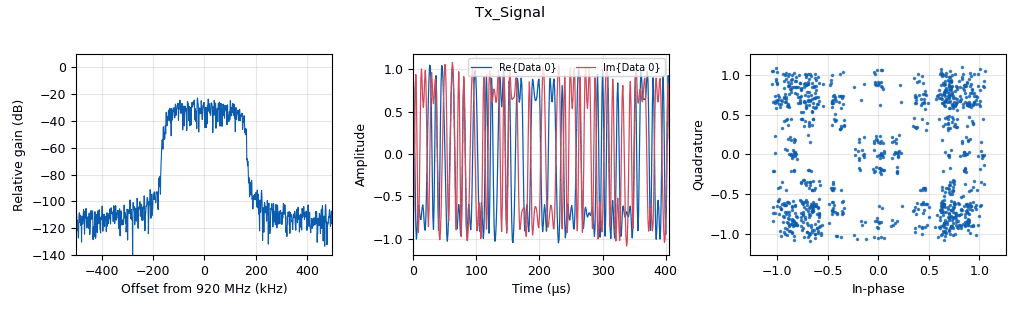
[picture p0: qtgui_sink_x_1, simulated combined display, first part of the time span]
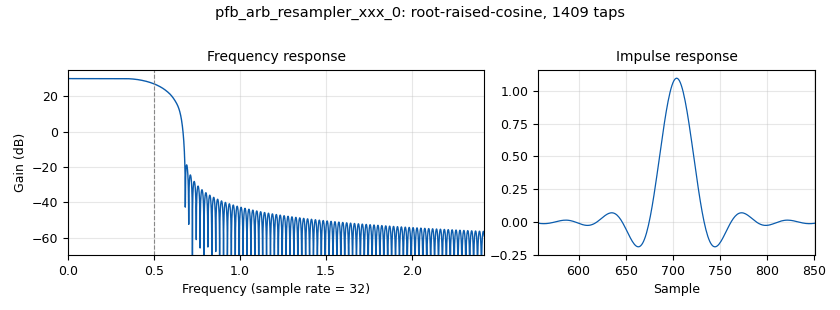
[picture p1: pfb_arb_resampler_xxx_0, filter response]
options:
  parameters:
    author: Dramco_Tianzheng
    generate_options: qt_gui
    id: QPSK_RPI_Tx
    output_language: python
    title: QPSK_RPI_Tx
  states: {}

blocks:
- name: d
  id: variable
  parameters:
    value: 1/(2**(1/2))
  states: {}
- name: eq_gain
  id: variable_qtgui_range
  parameters:
    gui_hint: 'controls@1: 1,0,1,1'
    label: 'Equalizer: rate'
    start: '0.0'
    step: '0.0001'
    stop: '0.001'
    value: '0.0001'
  states: {}
- name: excess_bw
  id: variable
  parameters:
    value: '0.35'
  states: {}
- name: filt_delay
  id: variable
  parameters:
    value: int(1+(taps_per_filt-1)//2)
  states: {}
- name: freq
  id: variable
  parameters:
    value: 920e6
  states: {}
- name: freq_offset
  id: variable_qtgui_range
  parameters:
    gui_hint: 'controls@0: 1,1,1,1'
    label: Frequency Offset
    start: '-0.1'
    step: '0.001'
    stop: '0.1'
    value: '0'
  states: {}
- name: gain_rx
  id: variable_qtgui_range
  parameters:
    gui_hint: 'controls@1: 0,0,1,1'
    label: gain_rx
    start: '0'
    step: '1'
    stop: '74'
    value: '50'
  states: {}
- name: gain_tx
  id: variable_qtgui_range
  parameters:
    gui_hint: 'controls@0: 0,0,1,1'
    label: gain_tx
    start: '0'
    step: '1'
    stop: '74'
    value: '50'
  states: {}
- name: nfilts
  id: variable
  parameters:
    value: '32'
  states: {}
- name: noise_volt
  id: variable_qtgui_range
  parameters:
    gui_hint: 'controls@0: 1,0,1,1'
    label: Noise Voltage
    start: '0'
    step: '0.01'
    stop: '2'
    value: '0'
  states: {}
- name: qpsk_mg
  id: variable_constellation_rect
  parameters:
    const_points: '[d+d*1j, -d+d*1j,-d-d*1j, d-d*1j]'
    imag_sect: '2'
    real_sect: '2'
    rot_sym: '4'
    sym_map: '[0, 1, 3, 2]'
    w_imag_sect: '1'
    w_real_sect: '1'
  states: {}
- name: rrc_taps_tx
  id: variable
  parameters:
    value: firdes.root_raised_cosine(nfilts, nfilts, 1.0, excess_bw, 11*sps*nfilts)
  states: {}
- name: samp_rate
  id: variable
  parameters:
    value: '1000000'
  states: {}
- name: sps
  id: variable
  parameters:
    value: '4'
  states: {}
- name: taps
  id: variable
  parameters:
    value: '[0.825,0,0,0,0.526]'
  states: {}
- name: taps_1
  id: variable
  parameters:
    value: '[1,0,0,0.5]'
  states: {}
- name: taps_per_filt
  id: variable
  parameters:
    value: int((11*sps*nfilts)/nfilts)
  states: {}
- name: variable_adaptive_algorithm_0
  id: variable_adaptive_algorithm
  parameters:
    cons: qpsk_mg
    modulus: '1'
    step_size: eq_gain
    type: cma
  states: {}
- name: analog_random_source_x_0
  id: analog_random_source_x
  parameters:
    max: '256'
    min: '0'
    num_samps: '10000000'
    repeat: 'True'
    type: byte
  states: {}
- name: blocks_packed_to_unpacked_xx_0
  id: blocks_packed_to_unpacked_xx
  parameters:
    bits_per_chunk: '2'
    endianness: gr.GR_MSB_FIRST
    type: byte
  states: {}
- name: blocks_stream_to_tagged_stream_0
  id: blocks_stream_to_tagged_stream
  parameters:
    len_tag_key: '"packet_len"'
    packet_len: '1024'
    type: byte
  states: {}
- name: blocks_throttle_0
  id: blocks_throttle
  parameters:
    samples_per_second: samp_rate
    type: complex
  states: {}
- name: channels_channel_model_0
  id: channels_channel_model
  parameters:
    epsilon: '1'
    freq_offset: freq_offset
    noise_voltage: noise_volt
    seed: '0'
    taps: '1'
  states: {}
- name: controls
  id: qtgui_tab_widget
  parameters:
    gui_hint: 0,0,1,2
    label0: TX
    label1: RX
    num_tabs: '2'
  states: {}
- name: digital_chunks_to_symbols_xx_0
  id: digital_chunks_to_symbols_xx
  parameters:
    dimension: '1'
    in_type: byte
    out_type: complex
    symbol_table: qpsk_mg.points()
  states: {}
- name: digital_diff_encoder_bb_0
  id: digital_diff_encoder_bb
  parameters:
    coding: digital.DIFF_DIFFERENTIAL
    modulus: '4'
  states: {}
- name: pdu_tagged_stream_to_pdu_0
  id: pdu_tagged_stream_to_pdu
  parameters:
    tag: packet_len
    type: byte
  states: {}
- name: pfb_arb_resampler_xxx_0
  id: pfb_arb_resampler_xxx
  parameters:
    atten: '100'
    nfilts: nfilts
    rrate: sps
    taps: rrc_taps_tx
    type: ccf
  states: {}
- name: qtgui_sink_x_1
  id: qtgui_sink_x
  parameters:
    bw: samp_rate
    fc: freq
    fftsize: '1024'
    gui_hint: 1,0,1,1
    name: '"Tx_Signal"'
    showports: 'True'
    type: complex
  states: {}
- name: uhd_usrp_sink_0
  id: uhd_usrp_sink
  parameters:
    ant0: '"TX/RX"'
    center_freq0: freq
    clock_rate: '0.0'
    dev_addr: '"serial=31DB555"'
    dev_args: '""'
    gain0: gain_tx
    len_tag_name: ''
    samp_rate: samp_rate
    sync: sync
    type: fc32
  states: {}
- name: virtual_sink_0
  id: virtual_sink
  parameters:
    stream_id: Tx_samples
  states: {}
- name: zeromq_push_msg_sink_1
  id: zeromq_push_msg_sink
  parameters:
    address: tcp://<192.108.2.61>:5555
    timeout: '100'
  states: {}

connections:
- [analog_random_source_x_0, '0', blocks_packed_to_unpacked_xx_0, '0']
- [blocks_packed_to_unpacked_xx_0, '0', blocks_stream_to_tagged_stream_0, '0']
- [blocks_packed_to_unpacked_xx_0, '0', digital_diff_encoder_bb_0, '0']
- [blocks_stream_to_tagged_stream_0, '0', pdu_tagged_stream_to_pdu_0, '0']
- [blocks_throttle_0, '0', channels_channel_model_0, '0']
- [channels_channel_model_0, '0', uhd_usrp_sink_0, '0']
- [channels_channel_model_0, '0', virtual_sink_0, '0']
- [digital_chunks_to_symbols_xx_0, '0', pfb_arb_resampler_xxx_0, '0']
- [digital_diff_encoder_bb_0, '0', digital_chunks_to_symbols_xx_0, '0']
- [pdu_tagged_stream_to_pdu_0, pdus, zeromq_push_msg_sink_1, in]
- [pfb_arb_resampler_xxx_0, '0', blocks_throttle_0, '0']
- [pfb_arb_resampler_xxx_0, '0', qtgui_sink_x_1, '0']

metadata:
  file_format: 1
  grc_version: 3.10.10.0
